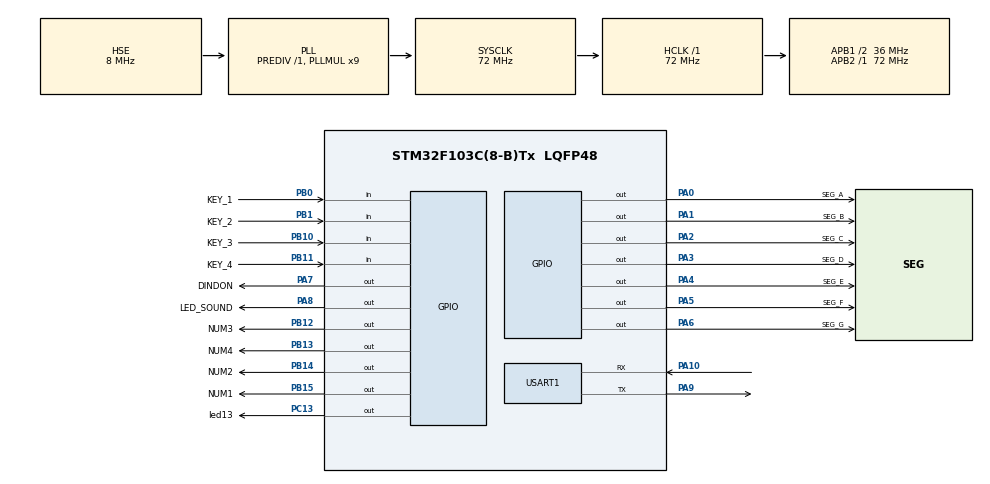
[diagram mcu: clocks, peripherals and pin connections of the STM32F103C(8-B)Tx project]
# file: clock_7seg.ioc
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Mcu.Family=STM32F1
Mcu.Name=STM32F103C(8-B)Tx
Mcu.Package=LQFP48
NVIC.PriorityGroup=NVIC_PRIORITYGROUP_4
NVIC.TIM1_UP_IRQn=true\:0\:0\:false\:false\:true\:true\:true
PA0-WKUP.GPIO_Label=SEG_A
PA0-WKUP.Signal=GPIO_Output
PA1.GPIO_Label=SEG_B
PA1.Signal=GPIO_Output
PA10.Mode=Asynchronous
PA10.Signal=USART1_RX
PA13.Mode=Serial_Wire
PA13.Signal=SYS_JTMS-SWDIO
PA14.Mode=Serial_Wire
PA14.Signal=SYS_JTCK-SWCLK
PA2.GPIO_Label=SEG_C
PA2.Signal=GPIO_Output
PA3.GPIO_Label=SEG_D
PA3.Signal=GPIO_Output
PA4.GPIO_Label=SEG_E
PA4.Signal=GPIO_Output
PA5.GPIO_Label=SEG_F
PA5.Signal=GPIO_Output
PA6.GPIO_Label=SEG_G
PA6.Signal=GPIO_Output
PA7.GPIO_Label=DINDON
PA7.Signal=GPIO_Output
PA8.GPIO_Label=LED_SOUND
PA8.Signal=GPIO_Output
PA9.Mode=Asynchronous
PA9.Signal=USART1_TX
PB0.GPIO_Label=KEY_1
PB0.GPIO_PuPd=GPIO_PULLUP
PB0.Signal=GPIO_Input
PB1.GPIO_Label=KEY_2
PB1.GPIO_PuPd=GPIO_PULLUP
PB1.Signal=GPIO_Input
PB10.GPIO_Label=KEY_3
PB10.GPIO_PuPd=GPIO_PULLUP
PB10.Signal=GPIO_Input
PB11.GPIO_Label=KEY_4
PB11.GPIO_PuPd=GPIO_PULLUP
PB11.Signal=GPIO_Input
PB12.GPIO_Label=NUM3
PB12.Signal=GPIO_Output
PB13.GPIO_Label=NUM4
PB13.Signal=GPIO_Output
PB14.GPIO_Label=NUM2
PB14.Signal=GPIO_Output
PB15.GPIO_Label=NUM1
PB15.Signal=GPIO_Output
PC13-TAMPER-RTC.GPIO_Label=led13
PC13-TAMPER-RTC.GPIO_PuPd=GPIO_PULLUP
PC13-TAMPER-RTC.GPIO_Speed=GPIO_SPEED_FREQ_LOW
PC13-TAMPER-RTC.PinState=GPIO_PIN_SET
PC13-TAMPER-RTC.Signal=GPIO_Output
PC14-OSC32_IN.Mode=LSE-External-Oscillator
PC14-OSC32_IN.Signal=RCC_OSC32_IN
PC15-OSC32_OUT.Mode=LSE-External-Oscillator
PC15-OSC32_OUT.Signal=RCC_OSC32_OUT
PD0-OSC_IN.Mode=HSE-External-Oscillator
PD0-OSC_IN.Signal=RCC_OSC_IN
PD1-OSC_OUT.Mode=HSE-External-Oscillator
PD1-OSC_OUT.Signal=RCC_OSC_OUT
ProjectManager.HeapSize=0x200
ProjectManager.StackSize=0x400
ProjectManager.TargetToolchain=STM32CubeIDE
RCC.AHBFreq_Value=72000000
RCC.APB1CLKDivider=RCC_HCLK_DIV2
RCC.APB1Freq_Value=36000000
RCC.APB1TimFreq_Value=72000000
RCC.APB2Freq_Value=72000000
RCC.APB2TimFreq_Value=72000000
RCC.HCLKFreq_Value=72000000
RCC.PLLMUL=RCC_PLL_MUL9
RCC.PLLSourceVirtual=RCC_PLLSOURCE_HSE
RCC.RTCClockSelection=RCC_RTCCLKSOURCE_LSE
RCC.SYSCLKFreq_VALUE=72000000
RCC.SYSCLKSource=RCC_SYSCLKSOURCE_PLLCLK
RCC.USBFreq_Value=72000000
RTC.Format=RTC_FORMAT_BIN
RTC.Hours=17
RTC.Minutes=10
RTC.Year=20
TIM1.Period=50
TIM1.Prescaler=719
USART1.VirtualMode=VM_ASYNC
VP_RTC_No_RTC_Output.Mode=RTC_OUT_NO
VP_RTC_VS_RTC_Activate.Mode=RTC_Enabled
VP_RTC_VS_RTC_Calendar.Mode=RTC_Calendar
VP_TIM1_VS_ClockSourceINT.Mode=Internal
board=custom

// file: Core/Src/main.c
/* USER CODE BEGIN Header */
/**
  ******************************************************************************
  * @file           : main.c
  * @brief          : Main program body
  ******************************************************************************
  * @attention
  *
  * <h2><center>&copy; Copyright (c) 2021 STMicroelectronics.
  * All rights reserved.</center></h2>
  *
  * This software component is licensed by ST under BSD 3-Clause license,
  * the "License"; You may not use this file except in compliance with the
  * License. You may obtain a copy of the License at:
  *                        opensource.org/licenses/BSD-3-Clause
  *
  ******************************************************************************
  */
/* USER CODE END Header */
#include "main.h"

/* USER CODE BEGIN Includes */
#include "string.h"
#include <stdio.h>
/* USER CODE END Includes */

RTC_HandleTypeDef hrtc;

TIM_HandleTypeDef htim1;

UART_HandleTypeDef huart1;

/* USER CODE BEGIN PV */
RTC_TimeTypeDef sTime = {0};
RTC_DateTypeDef DateToUpdate = {0};

volatile	int	count=0;
volatile	int	c_num=0;
volatile	int c_key_dr=0;
volatile	int keyscan=0;
volatile	int key[]={0,0,0,0};
			int key_f[]={0,0,0,0};
			int	c_mde=0;			//режим работы: 0 - индикация времени, 1 - установка часов, 2 - установка минут
			int	dindonf=0;
//volatile	uint8_t Hours_L=0;
//volatile	uint8_t Hours_H=0;
//volatile	uint8_t Minutes_L=0;
//volatile	uint8_t Minutes_H=0;

volatile	int Hours_L=0;
volatile	int Hours_H=0;
volatile	int Minutes_L=0;
volatile	int Minutes_H=0;

//			int	num_ind[]={0b0000111111111111,0b0010111111111111,0b0100111111111111,0b1000111111111111};
volatile	int	num_ind[]={0b0001111111111111,0b0010111111111111,0b1000111111111111, 0b0100111111111111};

//volatile	uint8_t	sgm_out[4]={0,};	//массив для 4-х выводимых на индикатор цифр в коде 7seg
volatile	int	sgm_out[4]={0,};	//массив для 4-х выводимых на индикатор цифр в коде 7seg

/* USER CODE END PV */

void SystemClock_Config(void);
static void MX_GPIO_Init(void);
static void MX_RTC_Init(void);
static void MX_USART1_UART_Init(void);
static void MX_TIM1_Init(void);

/* USER CODE BEGIN 0 */
//Прерывание от TMR1
void HAL_TIM_PeriodElapsedCallback(TIM_HandleTypeDef *htim)
{
  if(htim->Instance == TIM1) //проверяем какой таймер вызвал колбек
   {
//прерываемя каждую 0,5 мсек.
//	  rtc_get();
	 count++;
//Вывод цифры на индикатор
	  GPIOB->ODR &= 0b0000111111111111;		//гасим все разряды
//	  GPIOB->ODR |= 0b0100111111111111;
	  GPIOB->ODR |= num_ind[c_num];			//

	  GPIOA->ODR &= 0b1111111110000000;		//сбрасываем младшие 7 бит А в 0
	  GPIOA->ODR |= sgm_out[c_num];			//устанавливаем значения сегментов
	  c_num++;
	  if(c_num==4)
	  {
		  c_num=0;
	  }
	  c_key_dr++;
	  if(c_key_dr>=50)						//опрос кнопок с защитой от дребезга (значение 50 = 25 мсек)
	  {
		  keyscan=GPIOB->IDR;
		  	  if((keyscan & 1) == 0)
		  	  {
		  		key[0]=1;
		  	  }
		  	  else
		  	  {
		  		key[0]=0;
		  	  }
		  	  if((keyscan & 2) == 0)
		  	  {
		  		key[1]=1;
		  	  }
		  	  else
		  	  {
		  		key[1]=0;
		  	  }
		  	  if((keyscan & 1024) == 0)
		  	  {
		  		key[2]=1;
		  	  }
		  	  else
		  	  {
		  		key[2]=0;
		  	  }
		  	  if((keyscan & 2048) == 0)
		  	  {
		  		key[3]=1;
		  	  }
		  	  else
		  	  {
		  		key[3]=0;
		  	  }
		c_key_dr=0;
	  }

   }
}
//
//
//процедура заполнения массива кода клавиш
void key_inp (void)
{

}
//Процедура подучения времени и даты из RTC
//
//Вход: null
//Выход:
// переменные int Minutes_H, Minutes_L, Hours_H Hours_L с единицами/десятками часов и минут
void rtc_get(void)
{
	///////////////////////////////////////////////////////////
	//Получаем значение времени из RTC
		  	  	  	HAL_RTC_GetTime(&hrtc, &sTime, RTC_FORMAT_BIN); // RTC_FORMAT_BIN , RTC_FORMAT_BCD
	///////////////////////////////////////////////////////////
	///////////////////////////////////////////////////////////
	//Преобразуем значение времени в BCD формат
		            Minutes_H=sTime.Minutes/10;
		            Minutes_L=sTime.Minutes-(Minutes_H*10);
		            Hours_H=sTime.Hours/10;
		            Hours_L=sTime.Hours-(Hours_H*10);
	///////////////////////////////////////////////////////////
	///////////////////////////////////////////////////////////
	//Считываем значение даты (нужно для нормальной работы HAL_RTC)
		            HAL_RTC_GetDate(&hrtc, &DateToUpdate, RTC_FORMAT_BIN);
	///////////////////////////////////////////////////////////
#ifdef debug_0
	//4 DEBUG
		            char trans_str[64] = {0,};
	//END 4 DEBUG
	//4 DEBUG
	//Выводим значение часов, минут и секунд в UART1
		            snprintf(trans_str, 63, "Time %d:%d:%d\n", sTime.Hours, sTime.Minutes, sTime.Seconds);
		            HAL_UART_Transmit(&huart1, (uint8_t*)trans_str, strlen(trans_str), 1000);
	//END 4 DEBUG
	//4 DEBUG
	//Выводим BCD значения времени в UART1
		            snprintf(trans_str, 63, "H_H %d H_L %d M_H %d M_L %d\n", Hours_H, Hours_L, Minutes_H,  Minutes_L);
		            HAL_UART_Transmit(&huart1, (uint8_t*)trans_str, strlen(trans_str), 1000);
	//END 4 DEBUG
	//4 DEBUG
	//	            snprintf(trans_str, 63, "Date %d-%d-20%d\n", DateToUpdate.Date, DateToUpdate.Month, DateToUpdate.Year);
	//	            HAL_UART_Transmit(&huart1, (uint8_t*)trans_str, strlen(trans_str), 1000);
	//END 4 DEBUG
#endif
}
//
//
//Процедура преобразования BCD цифры в 7 сегментный код
//
//Вход: BCD цифра
//Выход 7 сегментны йкод цифры
//
uint8_t	bcd27seg (uint8_t bcd)
{
	static uint8_t sgm_m[]={
			0b00111111,			//0
			0b00000110,			//1
			0b01011011,			//2
			0b01001111,			//3
			0b01100110,			//4
			0b01101101,			//5
			0b01111101,			//6
			0b00000111,			//7
			0b01111111,			//8
			0b01101111,			//9
			0b00000000			//ZERRO
	};
	return (sgm_m[bcd]);
}
//
//
//процедура вывода сигнала каждый час
	void dindon(void)
	{
		static int Hours_temp=5;
		if(sTime.Hours != Hours_temp)
		{
			Hours_temp=sTime.Hours;
			HAL_GPIO_WritePin(DINDON_GPIO_Port,DINDON_Pin,GPIO_PIN_SET);
//			HAL_GPIO_WritePin(DINDON_GPIO_Port,DINDON_Pin,GPIO_PIN_RESET);
		}
		else
		{
			HAL_GPIO_WritePin(DINDON_GPIO_Port,DINDON_Pin,GPIO_PIN_RESET);
		}

	}
//
//
/* USER CODE END 0 */

int main(void)
{

  /* MCU Configuration--------------------------------------------------------*/

  /* Reset of all peripherals, Initializes the Flash interface and the Systick. */
  HAL_Init();

  /* Configure the system clock */
  SystemClock_Config();

  /* Initialize all configured peripherals */
  MX_GPIO_Init();
  MX_RTC_Init();
  MX_USART1_UART_Init();
  MX_TIM1_Init();
  /* USER CODE BEGIN 2 */
  HAL_TIM_Base_Start_IT(&htim1); // передаём в функцию указатель на структуру TIM1
  /* USER CODE END 2 */

  /* Infinite loop */
  /* USER CODE BEGIN WHILE */
  c_mde=0;
  while (1)
  {
//
//КНОПКИ
//
//нажатие на KEY1 (установка режимов)
//
	  if((key[0]==1) && (key_f[0]==0))
	  {
		  key_f[0]=1;
		  c_mde++;					//переход на следующий режим
	  }
	  if((key[0]==0) && (key_f[0]==1))
	  {
		  key_f[0]=0;
	  }
	  if(c_mde==3)					//всего режимов 3
	  {
		  c_mde=0;					//если переход на 4-й режим, то возврат в режим 0
	  }
//
//
//нажатие на KEY2 (уменьшение)
//
	  if((key[1]==1) && (key_f[1]==0))
	  {
		  key_f[1]=1;
		  if(c_mde==1)				//уменьшение часов
		  {
			  if(sTime.Hours > 1)
			  {
				  sTime.Hours--;
			  }
			  else
			  {
				  sTime.Hours=24;
			  }
		  }
		  if(c_mde==2)				//уменьшение минут
		  {
			  if(sTime.Minutes > 1)
			  {
				  sTime.Minutes--;
			  }
			  else
			  {
				  sTime.Minutes=59;
			  }
		  }
		HAL_RTC_SetTime(&hrtc, &sTime, RTC_FORMAT_BIN); // RTC_FORMAT_BIN , RTC_FORMAT_BCD
	  }
	  if((key[1]==0) && (key_f[1]==1))
	  {
		  key_f[1]=0;
	  }
//
//
//нажатие на KEY3 (увеличение)
//
	  	  if((key[2]==1) && (key_f[2]==0))
	  	  {
	  		  key_f[2]=1;
	  		  if(c_mde==1)				//увеличение часов
	  		  {
	  			  if(sTime.Hours < 23)
	  			  {
	  				  sTime.Hours++;
	  			  }
	  			  else
	  			  {
	  				  sTime.Hours=0;
	  			  }
	  		  }
	  		  if(c_mde==2)				//увеличение минут
	  		  {
	  			  if(sTime.Minutes < 59)
	  			  {
	  				  sTime.Minutes++;
	  			  }
	  			  else
	  			  {
	  				  sTime.Minutes=0;
	  			  }
	  		  }
	  		HAL_RTC_SetTime(&hrtc, &sTime, RTC_FORMAT_BIN); // RTC_FORMAT_BIN , RTC_FORMAT_BCD
	  	  }
	  	  if((key[2]==0) && (key_f[2]==1))
	  	  {
	  		  key_f[2]=0;
	  	  }
//
//
//нажатие на KEY4 (включение/выключение звука)
//
	  	  if((key[3]==1) && (key_f[3]==0))
	  	  {
	  		  key_f[3]=1;
	  		  dindonf=!dindonf;
	  	  }
	  	  if((key[3]==0) && (key_f[3]==1))
	  	  {
	  		  key_f[3]=0;
	  	  }

//
//
//РЕЖИМЫ
//
//мигающие режимы (1,2)
//
  if((count>=500) && (count<1000))
	{
	  if(c_mde==1)							//установка часов
	  {
		  sgm_out[3]=bcd27seg(11);			//преобразуем время в 7seg код
		  sgm_out[2]=bcd27seg(11);			//--""--

	  }
	  if(c_mde==2)							//установка минут
	  {
		  sgm_out[1]=bcd27seg(11);			//преобразуем время в 7seg код
		  sgm_out[0]=bcd27seg(11);			//--""--

	  }
	}
//
//
	  if(count>=1000)
	  {
//1 раз в 0,5 секунды
	  count=0;
      HAL_GPIO_TogglePin(led13_GPIO_Port, led13_Pin); // переключаем пин мигалки в противоположное состояние
	  rtc_get();		//получаем текущее время и преобразуем его d BCD Hours_L, Hours_Н, Minutes_L, Minutes_Н
	  sgm_out[3]=bcd27seg(Hours_H);			//преобразуем время в 7seg код
	  sgm_out[2]=bcd27seg(Hours_L);			//--""--
	  sgm_out[1]=bcd27seg(Minutes_H);		//--""--
	  sgm_out[0]=bcd27seg(Minutes_L);		//--""--
	  	  if(dindonf==1)						//если включени режим вывода звука
	  	  {
	  		  dindon();							//вывод сигнада каждый час
	  		  HAL_GPIO_WritePin(LED_SOUND_GPIO_Port,LED_SOUND_Pin,GPIO_PIN_SET);	//индикация режима вывода звука
	  	  }
	  	 else
	  	  {
	  		  HAL_GPIO_WritePin(LED_SOUND_GPIO_Port,LED_SOUND_Pin,GPIO_PIN_RESET);	//индикация режима вывода звука
	  	  }
	    }

#ifdef debug_1
	//4 DEBUG
		            char trans_str[80] = {0,};
	//Выводим значение кнопок
		            snprintf(trans_str, 80, "key[0] = %d key[1] = %d key[2] = %d key[3] = %d keyscan = %d\n", key[0], key[1], key[2], key[3],keyscan);
		            HAL_UART_Transmit(&huart1, (uint8_t*)trans_str, strlen(trans_str), 1000);
#endif
//
    /* USER CODE END WHILE */

  }
}

void SystemClock_Config(void)
{
  RCC_OscInitTypeDef RCC_OscInitStruct = {0};
  RCC_ClkInitTypeDef RCC_ClkInitStruct = {0};
  RCC_PeriphCLKInitTypeDef PeriphClkInit = {0};

  /** Initializes the RCC Oscillators according to the specified parameters
  * in the RCC_OscInitTypeDef structure.
  */
  RCC_OscInitStruct.OscillatorType = RCC_OSCILLATORTYPE_HSE|RCC_OSCILLATORTYPE_LSE;
  RCC_OscInitStruct.HSEState = RCC_HSE_ON;
  RCC_OscInitStruct.HSEPredivValue = RCC_HSE_PREDIV_DIV1;
  RCC_OscInitStruct.LSEState = RCC_LSE_ON;
  RCC_OscInitStruct.HSIState = RCC_HSI_ON;
  RCC_OscInitStruct.PLL.PLLState = RCC_PLL_ON;
  RCC_OscInitStruct.PLL.PLLSource = RCC_PLLSOURCE_HSE;
  RCC_OscInitStruct.PLL.PLLMUL = RCC_PLL_MUL9;
  if (HAL_RCC_OscConfig(&RCC_OscInitStruct) != HAL_OK)
  {
    Error_Handler();
  }
  /** Initializes the CPU, AHB and APB buses clocks
  */
  RCC_ClkInitStruct.ClockType = RCC_CLOCKTYPE_HCLK|RCC_CLOCKTYPE_SYSCLK
                              |RCC_CLOCKTYPE_PCLK1|RCC_CLOCKTYPE_PCLK2;
  RCC_ClkInitStruct.SYSCLKSource = RCC_SYSCLKSOURCE_PLLCLK;
  RCC_ClkInitStruct.AHBCLKDivider = RCC_SYSCLK_DIV1;
  RCC_ClkInitStruct.APB1CLKDivider = RCC_HCLK_DIV2;
  RCC_ClkInitStruct.APB2CLKDivider = RCC_HCLK_DIV1;

  if (HAL_RCC_ClockConfig(&RCC_ClkInitStruct, FLASH_LATENCY_2) != HAL_OK)
  {
    Error_Handler();
  }
  PeriphClkInit.PeriphClockSelection = RCC_PERIPHCLK_RTC;
  PeriphClkInit.RTCClockSelection = RCC_RTCCLKSOURCE_LSE;
  if (HAL_RCCEx_PeriphCLKConfig(&PeriphClkInit) != HAL_OK)
  {
    Error_Handler();
  }
}

static void MX_RTC_Init(void)
{

  RTC_TimeTypeDef sTime = {0};
  RTC_DateTypeDef DateToUpdate = {0};

  /** Initialize RTC Only
  */
  hrtc.Instance = RTC;
  hrtc.Init.AsynchPrediv = RTC_AUTO_1_SECOND;
  hrtc.Init.OutPut = RTC_OUTPUTSOURCE_NONE;
  if (HAL_RTC_Init(&hrtc) != HAL_OK)
  {
    Error_Handler();
  }

  /** Initialize RTC and set the Time and Date
  */
  sTime.Hours = 17;
  sTime.Minutes = 10;
  sTime.Seconds = 0;

  //if (HAL_RTC_SetTime(&hrtc, &sTime, RTC_FORMAT_BIN) != HAL_OK)
  //{
  //  Error_Handler();
  //}
  DateToUpdate.WeekDay = RTC_WEEKDAY_MONDAY;
  DateToUpdate.Month = RTC_MONTH_JANUARY;
  DateToUpdate.Date = 1;
  DateToUpdate.Year = 20;

  //if (HAL_RTC_SetDate(&hrtc, &DateToUpdate, RTC_FORMAT_BIN) != HAL_OK)
  //{
  //  Error_Handler();
  //}

}

static void MX_TIM1_Init(void)
{

  TIM_ClockConfigTypeDef sClockSourceConfig = {0};
  TIM_MasterConfigTypeDef sMasterConfig = {0};

  htim1.Instance = TIM1;
  htim1.Init.Prescaler = 719;
  htim1.Init.CounterMode = TIM_COUNTERMODE_UP;
  htim1.Init.Period = 50;
  htim1.Init.ClockDivision = TIM_CLOCKDIVISION_DIV1;
  htim1.Init.RepetitionCounter = 0;
  htim1.Init.AutoReloadPreload = TIM_AUTORELOAD_PRELOAD_DISABLE;
  if (HAL_TIM_Base_Init(&htim1) != HAL_OK)
  {
    Error_Handler();
  }
  sClockSourceConfig.ClockSource = TIM_CLOCKSOURCE_INTERNAL;
  if (HAL_TIM_ConfigClockSource(&htim1, &sClockSourceConfig) != HAL_OK)
  {
    Error_Handler();
  }
  sMasterConfig.MasterOutputTrigger = TIM_TRGO_RESET;
  sMasterConfig.MasterSlaveMode = TIM_MASTERSLAVEMODE_DISABLE;
  if (HAL_TIMEx_MasterConfigSynchronization(&htim1, &sMasterConfig) != HAL_OK)
  {
    Error_Handler();
  }

}

static void MX_USART1_UART_Init(void)
{

  huart1.Instance = USART1;
  huart1.Init.BaudRate = 115200;
  huart1.Init.WordLength = UART_WORDLENGTH_8B;
  huart1.Init.StopBits = UART_STOPBITS_1;
  huart1.Init.Parity = UART_PARITY_NONE;
  huart1.Init.Mode = UART_MODE_TX_RX;
  huart1.Init.HwFlowCtl = UART_HWCONTROL_NONE;
  huart1.Init.OverSampling = UART_OVERSAMPLING_16;
  if (HAL_UART_Init(&huart1) != HAL_OK)
  {
    Error_Handler();
  }

}

static void MX_GPIO_Init(void)
{
  GPIO_InitTypeDef GPIO_InitStruct = {0};

  /* GPIO Ports Clock Enable */
  __HAL_RCC_GPIOC_CLK_ENABLE();
  __HAL_RCC_GPIOD_CLK_ENABLE();
  __HAL_RCC_GPIOA_CLK_ENABLE();
  __HAL_RCC_GPIOB_CLK_ENABLE();

  /*Configure GPIO pin Output Level */
  HAL_GPIO_WritePin(led13_GPIO_Port, led13_Pin, GPIO_PIN_SET);

  /*Configure GPIO pin Output Level */
  HAL_GPIO_WritePin(GPIOA, SEG_A_Pin|SEG_B_Pin|SEG_C_Pin|SEG_D_Pin
                          |SEG_E_Pin|SEG_F_Pin|SEG_G_Pin|DINDON_Pin
                          |LED_SOUND_Pin, GPIO_PIN_RESET);

  /*Configure GPIO pin Output Level */
  HAL_GPIO_WritePin(GPIOB, NUM3_Pin|NUM4_Pin|NUM2_Pin|NUM1_Pin, GPIO_PIN_RESET);

  /*Configure GPIO pin : led13_Pin */
  GPIO_InitStruct.Pin = led13_Pin;
  GPIO_InitStruct.Mode = GPIO_MODE_OUTPUT_PP;
  GPIO_InitStruct.Pull = GPIO_PULLUP;
  GPIO_InitStruct.Speed = GPIO_SPEED_FREQ_LOW;
  HAL_GPIO_Init(led13_GPIO_Port, &GPIO_InitStruct);

  /*Configure GPIO pins : SEG_A_Pin SEG_B_Pin SEG_C_Pin SEG_D_Pin
                           SEG_E_Pin SEG_F_Pin SEG_G_Pin DINDON_Pin
                           LED_SOUND_Pin */
  GPIO_InitStruct.Pin = SEG_A_Pin|SEG_B_Pin|SEG_C_Pin|SEG_D_Pin
                          |SEG_E_Pin|SEG_F_Pin|SEG_G_Pin|DINDON_Pin
                          |LED_SOUND_Pin;
  GPIO_InitStruct.Mode = GPIO_MODE_OUTPUT_PP;
  GPIO_InitStruct.Pull = GPIO_NOPULL;
  GPIO_InitStruct.Speed = GPIO_SPEED_FREQ_LOW;
  HAL_GPIO_Init(GPIOA, &GPIO_InitStruct);

  /*Configure GPIO pins : KEY_1_Pin KEY_2_Pin KEY_3_Pin KEY_4_Pin */
  GPIO_InitStruct.Pin = KEY_1_Pin|KEY_2_Pin|KEY_3_Pin|KEY_4_Pin;
  GPIO_InitStruct.Mode = GPIO_MODE_INPUT;
  GPIO_InitStruct.Pull = GPIO_PULLUP;
  HAL_GPIO_Init(GPIOB, &GPIO_InitStruct);

  /*Configure GPIO pins : NUM3_Pin NUM4_Pin NUM2_Pin NUM1_Pin */
  GPIO_InitStruct.Pin = NUM3_Pin|NUM4_Pin|NUM2_Pin|NUM1_Pin;
  GPIO_InitStruct.Mode = GPIO_MODE_OUTPUT_PP;
  GPIO_InitStruct.Pull = GPIO_NOPULL;
  GPIO_InitStruct.Speed = GPIO_SPEED_FREQ_LOW;
  HAL_GPIO_Init(GPIOB, &GPIO_InitStruct);

}

void Error_Handler(void)
{
  __disable_irq();
  while (1)
  {
  }
}

/************************ (C) COPYRIGHT STMicroelectronics *****END OF FILE****/
